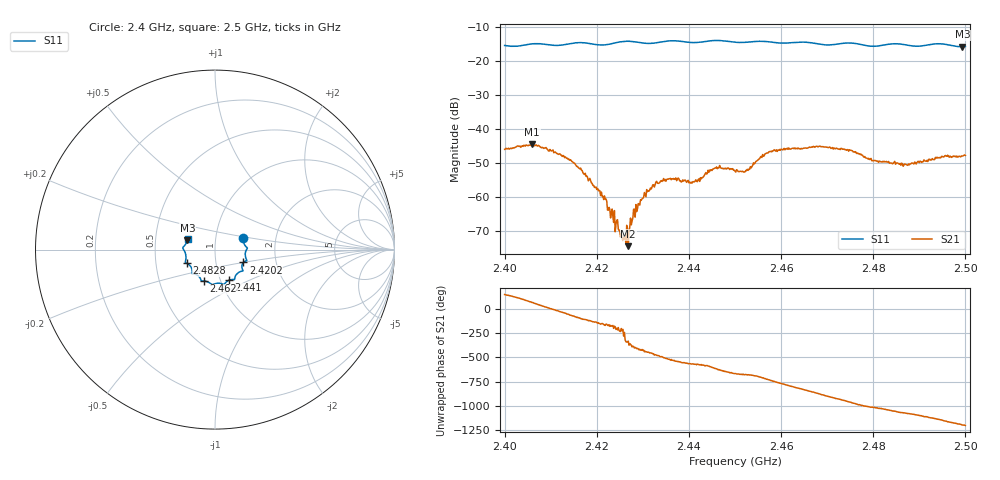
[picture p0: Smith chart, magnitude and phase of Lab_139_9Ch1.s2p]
# Hz S RI R 50
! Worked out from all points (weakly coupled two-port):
!   601 points, 2.4 GHz to 2.5 GHz, reference 50 ohm
!   highest |S21| = -44.59 dB at 2.406 GHz (marker M1); lowest = -74.6 dB at 2.4268 GHz (marker M2)
!   lowest |S11| = -15.8 dB at 2.4993 GHz (marker M3), VSWR 1.39, Z = 36.5 + j3.9 ohm
!   |S11| at or under -10 dB: start of sweep to end of sweep
!   S12 and S22 are empty: the file has one direction only
!   S11 on the Smith chart (normalised r, x): 2.4 GHz: 1.36, +0.17; 2.4202 GHz: 1.36, -0.20; 2.441 GHz: 1.10, -0.39; 2.462 GHz: 0.83, -0.30; 2.4828 GHz: 0.72, -0.11; 2.5 GHz: 0.73, +0.09
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2.4e9  0.158 0.0622  -0.00409 0.00287  0 0  0 0
2.406e9  0.1791 0.0112  0.00272 0.00523  0 0  0 0
2.412333e9  0.1689 -0.0326  0.00332 -0.0024  0 0  0 0
2.416667e9  0.1769 -0.0605  -0.00065 -0.00238  0 0  0 0
2.420167e9  0.1579 -0.0718  -0.00114 -0.000682  0 0  0 0
2.421667e9  0.1509 -0.0846  -0.00101 -0.000191  0 0  0 0
2.4255e9  0.1555 -0.1157  -0.000162 0.000172  0 0  0 0
2.426833e9  0.1559 -0.1187  0.000168 8.14e-05  0 0  0 0
2.427667e9  0.1534 -0.1193  0.000368 -0.000242  0 0  0 0
2.43e9  0.1357 -0.125  0.000326 -0.000887  0 0  0 0
2.433333e9  0.1117 -0.1511  -0.000849 -0.00132  0 0  0 0
2.441e9  0.0781 -0.1701  -0.00144 0.00084  0 0  0 0
2.446167e9  0.0497 -0.195  -0.000362 0.00256  0 0  0 0
2.45e9  0.0277 -0.1875  0.00146 0.00188  0 0  0 0
2.452667e9  0.00192 -0.1897  0.00199 0.00157  0 0  0 0
2.457333e9  -0.0217 -0.1911  0.00449 -0.000909  0 0  0 0
2.462e9  -0.0609 -0.1754  0.00121 -0.00488  0 0  0 0
2.466667e9  -0.0786 -0.1678  -0.00392 -0.00375  0 0  0 0
2.482833e9  -0.1572 -0.0768  0.0025 0.00217  0 0  0 0
2.483333e9  -0.1601 -0.0754  0.00262 0.00203  0 0  0 0
2.499333e9  -0.1541 0.0521  -0.00178 -0.00355  0 0  0 0
2.5e9  -0.1524 0.0614  -0.00211 -0.00347  0 0  0 0
